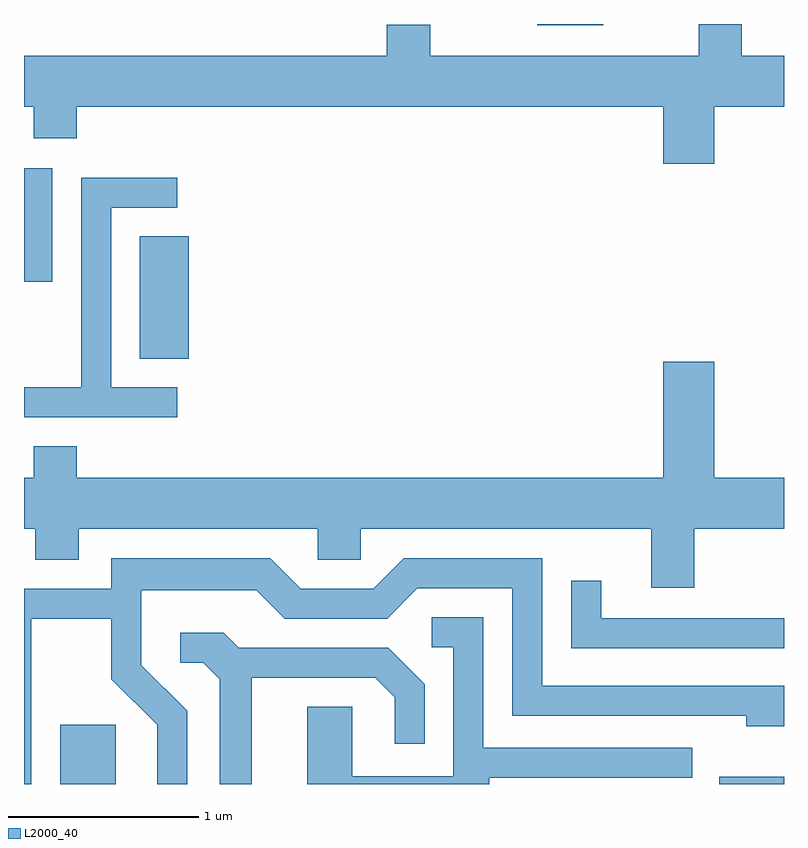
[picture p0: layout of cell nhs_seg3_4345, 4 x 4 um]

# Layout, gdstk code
import gdstk
lib = gdstk.Library(unit=1e-6, precision=1e-09)
def R(c, l, rs):  # rectangles x0, y0, x1, y1
    for r in rs: c.add(gdstk.rectangle(r[:2], r[2:], *l))
def P(c, l, *ps):  # polygons
    for p in ps: c.add(gdstk.Polygon(p, *l))
L2000_40 = (2000, 40)

nhs_seg3_4345 = lib.new_cell('nhs_seg3_4345')
R(nhs_seg3_4345, L2000_40, [(311.801,1237.892,312.094,1238.204), (315.271,1237.892,315.611,1237.929), (312.221,1240.131,312.479,1240.774), (311.611,1240.536,311.759,1241.134), (314.313,1241.886,314.659,1241.892)])
P(nhs_seg3_4345, L2000_40, [(315.244,1241.456),(315.611,1241.456),(315.611,1241.724),(315.389,1241.724),(315.389,1241.892),(315.161,1241.892),(315.161,1241.724),(313.749,1241.724),(313.749,1241.889),(313.521,1241.889),(313.521,1241.724),(311.611,1241.724),(311.611,1241.456),(311.661,1241.456),(311.661,1241.291),(311.889,1241.291),(311.889,1241.456),(314.976,1241.456),(314.976,1241.156),(315.244,1241.156)],
  [(312.418,1239.979),(312.069,1239.979),(312.069,1240.926),(312.418,1240.926),(312.418,1241.084),(311.911,1241.084),(311.911,1239.979),(311.611,1239.979),(311.611,1239.821),(312.418,1239.821)],
  [(315.139,1239.236),(315.611,1239.236),(315.611,1239.504),(315.244,1239.504),(315.244,1240.114),(314.976,1240.114),(314.976,1239.504),(311.889,1239.504),(311.889,1239.669),(311.661,1239.669),(311.661,1239.504),(311.611,1239.504),(311.611,1239.236),(311.671,1239.236),(311.671,1239.071),(311.899,1239.071),(311.899,1239.236),(313.156,1239.236),(313.156,1239.071),(313.384,1239.071),(313.384,1239.236),(314.911,1239.236),(314.911,1238.926),(315.139,1238.926)],
  [(311.649,1238.761),(312.071,1238.761),(312.071,1238.444),(312.311,1238.204),(312.311,1237.892),(312.469,1237.892),(312.469,1238.277),(312.229,1238.517),(312.229,1238.911),(312.834,1238.911),(312.984,1238.761),(313.522,1238.761),(313.682,1238.921),(314.181,1238.921),(314.181,1238.251),(315.411,1238.251),(315.411,1238.196),(315.611,1238.196),(315.611,1238.409),(314.339,1238.409),(314.339,1239.079),(313.609,1239.079),(313.449,1238.919),(313.067,1238.919),(312.907,1239.079),(312.071,1239.079),(312.071,1238.919),(311.611,1238.919),(311.611,1237.892),(311.649,1237.892)],
  [(315.611,1238.764),(314.649,1238.764),(314.649,1238.963),(314.491,1238.963),(314.491,1238.606),(315.611,1238.606)],
  [(314.059,1237.926),(315.128,1237.926),(315.128,1238.084),(314.029,1238.084),(314.029,1238.769),(313.758,1238.769),(313.758,1238.611),(313.871,1238.611),(313.871,1237.934),(313.339,1237.934),(313.339,1238.299),(313.101,1238.299),(313.101,1237.892),(314.059,1237.892)],
  [(312.809,1238.451),(313.459,1238.451),(313.561,1238.349),(313.561,1238.103),(313.719,1238.103),(313.719,1238.417),(313.527,1238.609),(312.742,1238.609),(312.662,1238.689),(312.433,1238.689),(312.433,1238.531),(312.554,1238.531),(312.641,1238.444),(312.641,1237.892),(312.809,1237.892)])

lib.write_gds('nhs_seg3_4345.gds')
